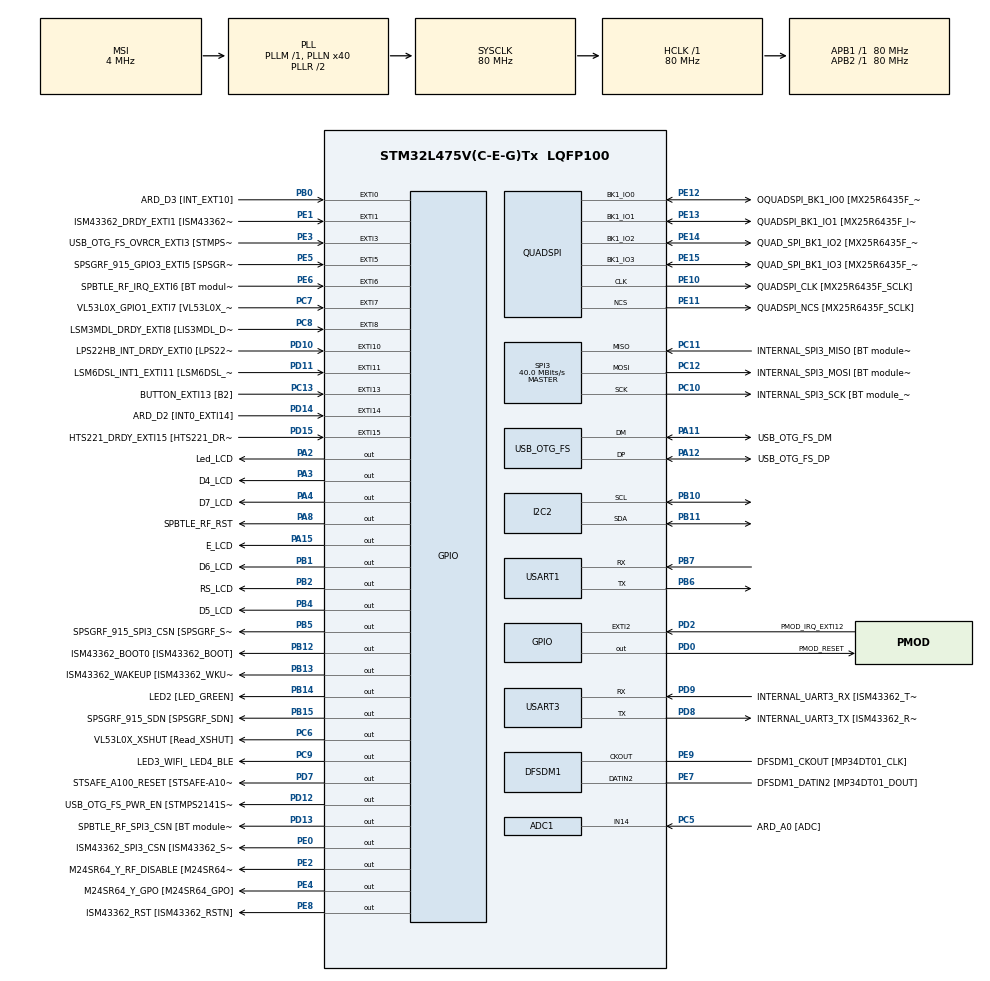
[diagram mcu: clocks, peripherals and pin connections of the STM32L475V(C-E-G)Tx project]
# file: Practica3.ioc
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ADC1.Channel-0\#ChannelRegularConversion=ADC_CHANNEL_14
ADC1.NbrOfConversionFlag=1
ADC1.OffsetNumber-0\#ChannelRegularConversion=ADC_OFFSET_NONE
ADC1.Rank-0\#ChannelRegularConversion=1
ADC1.SamplingTime-0\#ChannelRegularConversion=ADC_SAMPLETIME_2CYCLES_5
ADC1.master=1
I2C2.Timing=0x10909CEC
Mcu.Family=STM32L4
Mcu.Name=STM32L475V(C-E-G)Tx
Mcu.Package=LQFP100
NVIC.EXTI15_10_IRQn=true\:0\:0\:false\:false\:true\:true\:true\:true
NVIC.EXTI9_5_IRQn=true\:0\:0\:false\:false\:true\:true\:true\:true
NVIC.PriorityGroup=NVIC_PRIORITYGROUP_4
PA0.GPIO_Label=ARD_D1 [UART4_TX]
PA0.Signal=UART4_TX
PA1.GPIO_Label=ARD_D0 [UART4_RX]
PA1.Signal=UART4_RX
PA10.GPIO_Label=USB_OTG_FS_ID
PA10.Signal=USB_OTG_FS_ID
PA11.GPIO_Label=USB_OTG_FS_DM
PA11.Mode=Device_Only
PA11.Signal=USB_OTG_FS_DM
PA12.GPIO_Label=USB_OTG_FS_DP
PA12.Mode=Device_Only
PA12.Signal=USB_OTG_FS_DP
PA13\ (JTMS-SWDIO).GPIO_Label=SYS_JTMS_SWDIO
PA13\ (JTMS-SWDIO).Mode=Serial_Wire
PA13\ (JTMS-SWDIO).Signal=SYS_JTMS-SWDIO
PA14\ (JTCK-SWCLK).GPIO_Label=SYS_JTCK_SWCLK
PA14\ (JTCK-SWCLK).Mode=Serial_Wire
PA14\ (JTCK-SWCLK).Signal=SYS_JTCK-SWCLK
PA15\ (JTDI).GPIO_Label=E_LCD
PA15\ (JTDI).Signal=GPIO_Output
PA2.GPIO_Label=Led_LCD
PA2.Signal=GPIO_Output
PA3.GPIO_Label=D4_LCD
PA3.Signal=GPIO_Output
PA4.GPIO_Label=D7_LCD
PA4.Signal=GPIO_Output
PA5.GPIO_Label=ARD_D13 [SPI1_SCK]
PA5.Signal=SPI1_SCK
PA6.GPIO_Label=ARD_D12 [SPI1_MISO]
PA6.Signal=SPI1_MISO
PA7.GPIO_Label=ARD_D11 [SPI1_MOSI]
PA7.Signal=SPI1_MOSI
PA8.GPIO_Label=SPBTLE_RF_RST
PA8.Signal=GPIO_Output
PA9.GPIO_Label=USB_OTG_FS_VBUS [STMPS2141STR_OUT]
PA9.Signal=USB_OTG_FS_VBUS
PB0.GPIO_Label=ARD_D3 [INT_EXT10]
PB0.Signal=GPXTI0
PB1.GPIO_Label=D6_LCD
PB1.Signal=GPIO_Output
PB10.Mode=I2C
PB10.Signal=I2C2_SCL
PB11.Mode=I2C
PB11.Signal=I2C2_SDA
PB12.GPIO_Label=ISM43362_BOOT0 [ISM43362_BOOT]
PB12.Signal=GPIO_Output
PB13.GPIO_Label=ISM43362_WAKEUP [ISM43362_WKUP]
PB13.Signal=GPIO_Output
PB14.GPIO_Label=LED2 [LED_GREEN]
PB14.Signal=GPIO_Output
PB15.GPIO_Label=SPSGRF_915_SDN [SPSGRF_SDN]
PB15.Signal=GPIO_Output
PB2.GPIO_Label=RS_LCD
PB2.Signal=GPIO_Output
PB3\ (JTDO-TRACESWO).GPIO_Label=SYS_JTD0_SWO
PB3\ (JTDO-TRACESWO).Signal=SYS_JTDO-SWO
PB4\ (NJTRST).GPIO_Label=D5_LCD
PB4\ (NJTRST).Signal=GPIO_Output
PB5.GPIO_Label=SPSGRF_915_SPI3_CSN [SPSGRF_SPI_CS]
PB5.PinState=GPIO_PIN_SET
PB5.Signal=GPIO_Output
PB6.Mode=Asynchronous
PB6.Signal=USART1_TX
PB7.Mode=Asynchronous
PB7.Signal=USART1_RX
PB9.GPIO_Label=ARD_D14 [I2C1_SDA]
PB9.Signal=I2C1_SDA
PC0.GPIO_Label=ARD_A5 [ADC]
PC0.Signal=ADCx_IN1
PC1.GPIO_Label=ARD_A4 [ADC]
PC1.Signal=ADCx_IN2
PC10.GPIO_Label=INTERNAL_SPI3_SCK [BT module_SPI_SCLK] [ISM43362_SCK]
PC10.Mode=Full_Duplex_Master
PC10.Signal=SPI3_SCK
PC11.GPIO_Label=INTERNAL_SPI3_MISO [BT module_SPI_MISO] [ISM43362_MISO]
PC11.Mode=Full_Duplex_Master
PC11.Signal=SPI3_MISO
PC12.GPIO_Label=INTERNAL_SPI3_MOSI [BT module_SPI_MOSI] [ISM43362_MOSI]
PC12.Mode=Full_Duplex_Master
PC12.Signal=SPI3_MOSI
PC13.GPIO_Label=BUTTON_EXTI13 [B2]
PC13.GPIO_ModeDefaultEXTI=GPIO_MODE_IT_FALLING
PC13.Signal=GPXTI13
PC14-OSC32_IN\ (PC14).Mode=LSE-External-Oscillator
PC14-OSC32_IN\ (PC14).Signal=RCC_OSC32_IN
PC15-OSC32_OUT\ (PC15).Mode=LSE-External-Oscillator
PC15-OSC32_OUT\ (PC15).Signal=RCC_OSC32_OUT
PC2.GPIO_Label=ARD_A3 [ADC]
PC2.Signal=ADCx_IN3
PC3.GPIO_Label=ARD_A2 [ADC]
PC3.Signal=ADCx_IN4
PC5.GPIO_Label=ARD_A0 [ADC]
PC5.Signal=ADCx_IN14
PC6.GPIO_Label=VL53L0X_XSHUT [Read_XSHUT]
PC6.Signal=GPIO_Output
PC7.GPIO_Label=VL53L0X_GPIO1_EXTI7 [VL53L0X_GPIO1]
PC7.Signal=GPXTI7
PC8.GPIO_Label=LSM3MDL_DRDY_EXTI8 [LIS3MDL_DRDY]
PC8.Signal=GPXTI8
PC9.GPIO_Label=LED3_WIFI_ LED4_BLE
PC9.Signal=GPIO_Output
PD0.GPIO_Label=PMOD_RESET
PD0.Signal=GPIO_Output
PD1.GPIO_Label=PMOD_SPI2_SCK
PD1.Signal=SPI2_SCK
PD10.GPIO_Label=LPS22HB_INT_DRDY_EXTI0 [LPS22HB_INT_DRDY] 
PD10.Signal=GPXTI10
PD11.GPIO_Label=LSM6DSL_INT1_EXTI11 [LSM6DSL_INT1]
PD11.Signal=GPXTI11
PD12.GPIO_Label=USB_OTG_FS_PWR_EN [STMPS2141STR_EN]
PD12.Signal=GPIO_Output
PD13.GPIO_Label=SPBTLE_RF_SPI3_CSN [BT module_SPI_CS]
PD13.PinState=GPIO_PIN_SET
PD13.Signal=GPIO_Output
PD14.GPIO_Label=ARD_D2 [INT0_EXTI14]
PD14.Signal=GPXTI14
PD15.GPIO_Label=HTS221_DRDY_EXTI15 [HTS221_DRDY]
PD15.Signal=GPXTI15
PD2.GPIO_Label=PMOD_IRQ_EXTI12
PD2.Signal=GPXTI2
PD3.GPIO_Label=PMOD_UART2_CTS
PD3.Signal=USART2_CTS
PD4.GPIO_Label=PMOD_UART2_RTS
PD4.Signal=USART2_RTS
PD5.GPIO_Label=PMOD_UART2_TX
PD5.Signal=USART2_TX
PD6.GPIO_Label=PMOD_UART2_RX
PD6.Signal=USART2_RX
PD7.GPIO_Label=STSAFE_A100_RESET [STSAFE-A100_RESET]
PD7.Signal=GPIO_Output
PD8.GPIO_Label=INTERNAL_UART3_TX [ISM43362_RX]
PD8.Mode=Asynchronous
PD8.Signal=USART3_TX
PD9.GPIO_Label=INTERNAL_UART3_RX [ISM43362_TX]
PD9.Mode=Asynchronous
PD9.Signal=USART3_RX
PE0.GPIO_Label=ISM43362_SPI3_CSN [ISM43362_SSN]
PE0.PinState=GPIO_PIN_SET
PE0.Signal=GPIO_Output
PE1.GPIO_Label=ISM43362_DRDY_EXTI1 [ISM43362_DATARDY]
PE1.Signal=GPXTI1
PE10.GPIO_Label=QUADSPI_CLK [MX25R6435F_SCLK]
PE10.Mode=Single Bank
PE10.Signal=QUADSPI_CLK
PE11.GPIO_Label=QUADSPI_NCS [MX25R6435F_SCLK]
PE11.Mode=Single Bank
PE11.Signal=QUADSPI_NCS
PE12.GPIO_Label=OQUADSPI_BK1_IO0 [MX25R6435F_IO0]
PE12.Mode=Single Bank
PE12.Signal=QUADSPI_BK1_IO0
PE13.GPIO_Label=QUADSPI_BK1_IO1 [MX25R6435F_IO1]
PE13.Mode=Single Bank
PE13.Signal=QUADSPI_BK1_IO1
PE14.GPIO_Label=QUAD_SPI_BK1_IO2 [MX25R6435F_IO2]
PE14.Mode=Single Bank
PE14.Signal=QUADSPI_BK1_IO2
PE15.GPIO_Label=QUAD_SPI_BK1_IO3 [MX25R6435F_IO3]
PE15.Mode=Single Bank
PE15.Signal=QUADSPI_BK1_IO3
PE2.GPIO_Label=M24SR64_Y_RF_DISABLE [M24SR64_RFDIS]
PE2.Signal=GPIO_Output
PE3.GPIO_Label=USB_OTG_FS_OVRCR_EXTI3 [STMPS2141STR_FAULT]
PE3.Signal=GPXTI3
PE4.GPIO_Label=M24SR64_Y_GPO [M24SR64_GPO]
PE4.Signal=GPIO_Output
PE5.GPIO_Label=SPSGRF_915_GPIO3_EXTI5 [SPSGRF_GPIO_3]
PE5.Signal=GPXTI5
PE6.GPIO_Label=SPBTLE_RF_IRQ_EXTI6 [BT module_SPI_IRQ]
PE6.Signal=GPXTI6
PE7.GPIO_Label=DFSDM1_DATIN2 [MP34DT01_DOUT]
PE7.Signal=S_DATAIN2DFSDM1
PE8.GPIO_Label=ISM43362_RST [ISM43362_RSTN]
PE8.Signal=GPIO_Output
PE9.GPIO_Label=DFSDM1_CKOUT [MP34DT01_CLK]
PE9.Signal=S_CKOUTDFSDM1
ProjectManager.HeapSize=0x200
ProjectManager.StackSize=0x400
ProjectManager.TargetToolchain=STM32CubeIDE
QUADSPI.ClockPrescaler=2
QUADSPI.FifoThreshold=4
QUADSPI.FlashSize=23
QUADSPI.SampleShifting=QSPI_SAMPLE_SHIFTING_HALFCYCLE
RCC.ADCFreq_Value=48000000
RCC.AHBFreq_Value=80000000
RCC.APB1Freq_Value=80000000
RCC.APB1TimFreq_Value=80000000
RCC.APB2Freq_Value=80000000
RCC.APB2TimFreq_Value=80000000
RCC.CortexFreq_Value=80000000
RCC.HCLKFreq_Value=80000000
RCC.HSE_VALUE=8000000
RCC.HSI_VALUE=16000000
RCC.MSI_VALUE=4000000
RCC.PLLN=40
RCC.PLLSAI1N=24
RCC.SYSCLKFreq_VALUE=80000000
RCC.SYSCLKSource=RCC_SYSCLKSOURCE_PLLCLK
RCC.USBFreq_Value=48000000
RCC.VCOOutputFreq_Value=160000000
SH.ADCx_IN1.0=ADC1_IN1
SH.ADCx_IN14.0=ADC1_IN14,IN14-Single-Ended
SH.ADCx_IN2.0=ADC1_IN2
SH.ADCx_IN3.0=ADC1_IN3
SH.ADCx_IN4.0=ADC1_IN4
SH.S_CKOUTDFSDM1.0=DFSDM1_CKOUT,CKOUT
SH.S_CKOUTDFSDM1.1=DFSDM1_CKOUT,PDM_SPI_Input_from_ch12_and_Internal_Clock
SH.S_DATAIN2DFSDM1.0=DFSDM1_DATIN2,PDM_SPI_Input_from_ch12_and_Internal_Clock
SPI3.CalculateBaudRate=40.0 MBits/s
SPI3.Direction=SPI_DIRECTION_2LINES
SPI3.Mode=SPI_MODE_MASTER
SPI3.VirtualType=VM_MASTER
USART1.VirtualMode-Asynchronous=VM_ASYNC
USART3.VirtualMode-Asynchronous=VM_ASYNC
USB_OTG_FS.VirtualMode=Device_Only
board=B-L475E-IOT01A2

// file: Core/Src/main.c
/* USER CODE BEGIN Header */
/**
 ******************************************************************************
 * @file           : main.c
 * @brief          : Main program body
 ******************************************************************************
 * @attention
 *
 * Copyright (c) 2024 STMicroelectronics.
 * All rights reserved.
 *
 * This software is licensed under terms that can be found in the LICENSE file
 * in the root directory of this software component.
 * If no LICENSE file comes with this software, it is provided AS-IS.
 *
 ******************************************************************************
 */
/* USER CODE END Header */
#include "main.h"

/* USER CODE BEGIN Includes */
#include "hd44780.h"
#include "LPS22.h"
#include "HTS221.h"
#include "float.h"
#include "stdio.h"
/* USER CODE END Includes */

ADC_HandleTypeDef hadc1;

DFSDM_Channel_HandleTypeDef hdfsdm1_channel1;

I2C_HandleTypeDef hi2c2;

QSPI_HandleTypeDef hqspi;

SPI_HandleTypeDef hspi3;

UART_HandleTypeDef huart1;
UART_HandleTypeDef huart3;

PCD_HandleTypeDef hpcd_USB_OTG_FS;

/* USER CODE BEGIN PV */
#ifdef __GNUC__
/* With GCC/RAISONANCE, small printf (option LD Linker->Libraries->Small printf
set to 'Yes') calls __io_putchar() */
#define PUTCHAR_PROTOTYPE int __io_putchar(int ch)
#else
#define PUTCHAR_PROTOTYPE int fputc(int ch, FILE *f)
#endif /* __GNUC__ */
PUTCHAR_PROTOTYPE{
HAL_UART_Transmit(&huart1,(uint8_t *) &ch,1,2);
return ch;
}
/* USER CODE END PV */

void SystemClock_Config(void);
void PeriphCommonClock_Config(void);
static void MX_GPIO_Init(void);
static void MX_DFSDM1_Init(void);
static void MX_QUADSPI_Init(void);
static void MX_SPI3_Init(void);
static void MX_USART3_UART_Init(void);
static void MX_USB_OTG_FS_PCD_Init(void);
static void MX_ADC1_Init(void);
static void MX_I2C2_Init(void);
static void MX_USART1_UART_Init(void);

/* USER CODE BEGIN 0 */
void ini_lcd() {
	lcd_reset();
	lcd_display_settings(1, 0, 0);
	lcd_clear();
}
uint8_t getButton(uint16_t sample) {
	// uint8_t getButton(uint32_t sample)
	// uint8_t getButton(uint16_t sample)
	//da errores si las declaramos de esta forma
	uint8_t res = 0;
	if (sample == 4095) {
		res = 0;
	} else if (sample >= 700 && sample <= 720) {
		// boton up
		res = 2;
	} else if (sample >= 1618 && sample <= 1630) {
		//boton down
		res = 3;
	} else if (sample >= 2380 && sample <= 2400) {
		// boton left
		res = 4;
	} else if (sample >= 3350 && sample <= 3380) {
		// select 3366
		res = 5;
	} else if (sample >= 0 && sample <= 100) {
		//boton right 000
		res = 1;
	}
	return res;
}
void display_lcd(float press, float temp, float hum) {

	uint8_t str[20]; // porqúe 20
	//Formatear y escribir la presión

	sprintf(str, "Press: %.1fhPA", press);
	moveToXY(0, 0);
	lcd_print(str);
	//de la temp y demás

	sprintf(str, "T:%.1fc H:%.1f\%%", temp, hum);
	moveToXY(1, 0);

	lcd_print(str);
}
/* USER CODE END 0 */

int main(void)
{

  /* MCU Configuration--------------------------------------------------------*/

  /* Reset of all peripherals, Initializes the Flash interface and the Systick. */
  HAL_Init();

  /* Configure the system clock */
  SystemClock_Config();

/* Configure the peripherals common clocks */
  PeriphCommonClock_Config();

  /* Initialize all configured peripherals */
  MX_GPIO_Init();
  MX_DFSDM1_Init();
  MX_QUADSPI_Init();
  MX_SPI3_Init();
  MX_USART3_UART_Init();
  MX_USB_OTG_FS_PCD_Init();
  MX_ADC1_Init();
  MX_I2C2_Init();
  MX_USART1_UART_Init();
  /* USER CODE BEGIN 2 */

//lcd_print("Funciona!");
  /* USER CODE END 2 */

  /* Infinite loop */
  /* USER CODE BEGIN WHILE */
// Inicializamos los perifericos
// inicializamos el lcd
	ini_lcd();
//inicializamos el LPS22H
	LPS22_Init();
	//inicializamos el HTS221_InitSs
	HTS221_Init();
	// aquí almacenaremos los datos

	float pressAVG = 0;
	float tempAVG = 0;
	float humAVG = 0;
	// necesario incluir una biblioteca adicional
	float pressMax = FLT_MIN;
	float pressMin = FLT_MAX;
	float tempMax = FLT_MIN;
	float tempMin = FLT_MAX;
	float humMax = FLT_MIN;
	float humMin = FLT_MAX;
	float press;
	float temp;
	float hum;

// para la temporizacíon
	int iBucle = 0;// almacena las iteraciones del bucle
//determina el modulo
//	a los 100 iteraciones se reinicia el bucle
	// si no lo hemos reinicado antes
	// para evitar overflows
	const int resetBucle= 100;

	while (1) { // usamos temporización
		//TAREA A lectura de sensores
		if (iBucle == 0) {
//			ponemos todo a 0 y leemos
			//así evitamos overflows
			// para evitar tener que leerlo 2 veces
			THSample ths = HTS221_Read();
			temp = 0;
			hum = 0;
			press = 0;
			pressAVG = 0;
			tempAVG = 0;
			humAVG = 0;
			pressMax = FLT_MIN;
			pressMin = FLT_MAX;
			 tempMax = FLT_MIN;
			tempMin = FLT_MAX;
			 humMax = FLT_MIN;
			 humMin = FLT_MAX;
		}
		if ( iBucle %5 == 0) {
			// cada 5 iteraciones del bucle
			//tomamos medidas
			THSample ths = HTS221_Read();
			temp = ths.temp;
			hum = ths.hum;
			press = LPS22_ReadPress();
			// actualizamos las variable

			tempAVG = (tempAVG*iBucle +temp) /(iBucle+1);
			humAVG = (humAVG*iBucle +temp) /(iBucle+1);
			pressAVG = (pressAVG*iBucle +temp) /(iBucle+1);
			pressMax = press >pressMax?press: pressMax;
			tempMax = temp >tempMax?temp: tempMax;
			humMax =  hum> humMax?hum:humMax;
			pressMin = press <pressMin?press: pressMin;
			tempMin = temp <tempMin?temp: tempMin;
			humMin =  hum< humMin?hum:humMin;

		}
		iBucle++;
		iBucle = iBucle % resetBucle;
		uint8_t boton=0;
//		// tarea B  leer en el botoón y mostrar en el display
		HAL_ADC_Start(&hadc1);
//		// 2- Esperar a que esté disponible
//		HAL_ADC_PollForConversion(&hadc1, 100);
//		uint16_t sample = HAL_ADC_GetValue(&hadc1);
//		// obtenenmos el valor del boton
//		boton = getButton(sample);
//		// vector para almacenar la cadena
//		uint8_t str[20]; // porque 20

		switch (boton) {
		case 2: // Up
			// valores maximos registrados
			display_lcd(pressMax, tempMax, humMax);
			break;
		case 3: //down
			//valores minimos
			display_lcd(pressMin, tempMin, humMin);
			break;
	case 4: // left
		// medios
		display_lcd(pressAVG, tempAVG, humAVG);

				break;
	case 1: // right
		//reset de todos
			iBucle = 0;
			// se resetea todo en el siguiente ciclo
			display_lcd(0, 0, 0);
				break;
		default:		// select  y ninguno
			display_lcd(press, temp, hum);
			break;
		}

// Tarea C retraso temporal
		HAL_Delay(100);
		//HAL_UART_Transmit(&huart1, "hola\n\r",6, 1000);
		printf("Pres:%.1hfPA T:%1fC H:%.1f%% B: %d\r\n",press,temp,hum,boton);
    /* USER CODE END WHILE */

	}
}

void SystemClock_Config(void)
{
  RCC_OscInitTypeDef RCC_OscInitStruct = {0};
  RCC_ClkInitTypeDef RCC_ClkInitStruct = {0};

  /** Configure the main internal regulator output voltage
  */
  if (HAL_PWREx_ControlVoltageScaling(PWR_REGULATOR_VOLTAGE_SCALE1) != HAL_OK)
  {
    Error_Handler();
  }

  /** Configure LSE Drive Capability
  */
  HAL_PWR_EnableBkUpAccess();
  __HAL_RCC_LSEDRIVE_CONFIG(RCC_LSEDRIVE_LOW);

  /** Initializes the RCC Oscillators according to the specified parameters
  * in the RCC_OscInitTypeDef structure.
  */
  RCC_OscInitStruct.OscillatorType = RCC_OSCILLATORTYPE_LSE|RCC_OSCILLATORTYPE_MSI;
  RCC_OscInitStruct.LSEState = RCC_LSE_ON;
  RCC_OscInitStruct.MSIState = RCC_MSI_ON;
  RCC_OscInitStruct.MSICalibrationValue = 0;
  RCC_OscInitStruct.MSIClockRange = RCC_MSIRANGE_6;
  RCC_OscInitStruct.PLL.PLLState = RCC_PLL_ON;
  RCC_OscInitStruct.PLL.PLLSource = RCC_PLLSOURCE_MSI;
  RCC_OscInitStruct.PLL.PLLM = 1;
  RCC_OscInitStruct.PLL.PLLN = 40;
  RCC_OscInitStruct.PLL.PLLP = RCC_PLLP_DIV7;
  RCC_OscInitStruct.PLL.PLLQ = RCC_PLLQ_DIV2;
  RCC_OscInitStruct.PLL.PLLR = RCC_PLLR_DIV2;
  if (HAL_RCC_OscConfig(&RCC_OscInitStruct) != HAL_OK)
  {
    Error_Handler();
  }

  /** Initializes the CPU, AHB and APB buses clocks
  */
  RCC_ClkInitStruct.ClockType = RCC_CLOCKTYPE_HCLK|RCC_CLOCKTYPE_SYSCLK
                              |RCC_CLOCKTYPE_PCLK1|RCC_CLOCKTYPE_PCLK2;
  RCC_ClkInitStruct.SYSCLKSource = RCC_SYSCLKSOURCE_PLLCLK;
  RCC_ClkInitStruct.AHBCLKDivider = RCC_SYSCLK_DIV1;
  RCC_ClkInitStruct.APB1CLKDivider = RCC_HCLK_DIV1;
  RCC_ClkInitStruct.APB2CLKDivider = RCC_HCLK_DIV1;

  if (HAL_RCC_ClockConfig(&RCC_ClkInitStruct, FLASH_LATENCY_4) != HAL_OK)
  {
    Error_Handler();
  }

  /** Enable MSI Auto calibration
  */
  HAL_RCCEx_EnableMSIPLLMode();
}

void PeriphCommonClock_Config(void)
{
  RCC_PeriphCLKInitTypeDef PeriphClkInit = {0};

  /** Initializes the peripherals clock
  */
  PeriphClkInit.PeriphClockSelection = RCC_PERIPHCLK_USB|RCC_PERIPHCLK_ADC;
  PeriphClkInit.AdcClockSelection = RCC_ADCCLKSOURCE_PLLSAI1;
  PeriphClkInit.UsbClockSelection = RCC_USBCLKSOURCE_PLLSAI1;
  PeriphClkInit.PLLSAI1.PLLSAI1Source = RCC_PLLSOURCE_MSI;
  PeriphClkInit.PLLSAI1.PLLSAI1M = 1;
  PeriphClkInit.PLLSAI1.PLLSAI1N = 24;
  PeriphClkInit.PLLSAI1.PLLSAI1P = RCC_PLLP_DIV7;
  PeriphClkInit.PLLSAI1.PLLSAI1Q = RCC_PLLQ_DIV2;
  PeriphClkInit.PLLSAI1.PLLSAI1R = RCC_PLLR_DIV2;
  PeriphClkInit.PLLSAI1.PLLSAI1ClockOut = RCC_PLLSAI1_48M2CLK|RCC_PLLSAI1_ADC1CLK;
  if (HAL_RCCEx_PeriphCLKConfig(&PeriphClkInit) != HAL_OK)
  {
    Error_Handler();
  }
}

static void MX_ADC1_Init(void)
{

  ADC_MultiModeTypeDef multimode = {0};
  ADC_ChannelConfTypeDef sConfig = {0};

  /** Common config
  */
  hadc1.Instance = ADC1;
  hadc1.Init.ClockPrescaler = ADC_CLOCK_ASYNC_DIV1;
  hadc1.Init.Resolution = ADC_RESOLUTION_12B;
  hadc1.Init.DataAlign = ADC_DATAALIGN_RIGHT;
  hadc1.Init.ScanConvMode = ADC_SCAN_DISABLE;
  hadc1.Init.EOCSelection = ADC_EOC_SINGLE_CONV;
  hadc1.Init.LowPowerAutoWait = DISABLE;
  hadc1.Init.ContinuousConvMode = DISABLE;
  hadc1.Init.NbrOfConversion = 1;
  hadc1.Init.DiscontinuousConvMode = DISABLE;
  hadc1.Init.ExternalTrigConv = ADC_SOFTWARE_START;
  hadc1.Init.ExternalTrigConvEdge = ADC_EXTERNALTRIGCONVEDGE_NONE;
  hadc1.Init.DMAContinuousRequests = DISABLE;
  hadc1.Init.Overrun = ADC_OVR_DATA_PRESERVED;
  hadc1.Init.OversamplingMode = DISABLE;
  if (HAL_ADC_Init(&hadc1) != HAL_OK)
  {
    Error_Handler();
  }

  /** Configure the ADC multi-mode
  */
  multimode.Mode = ADC_MODE_INDEPENDENT;
  if (HAL_ADCEx_MultiModeConfigChannel(&hadc1, &multimode) != HAL_OK)
  {
    Error_Handler();
  }

  /** Configure Regular Channel
  */
  sConfig.Channel = ADC_CHANNEL_14;
  sConfig.Rank = ADC_REGULAR_RANK_1;
  sConfig.SamplingTime = ADC_SAMPLETIME_2CYCLES_5;
  sConfig.SingleDiff = ADC_SINGLE_ENDED;
  sConfig.OffsetNumber = ADC_OFFSET_NONE;
  sConfig.Offset = 0;
  if (HAL_ADC_ConfigChannel(&hadc1, &sConfig) != HAL_OK)
  {
    Error_Handler();
  }

}

static void MX_DFSDM1_Init(void)
{

  hdfsdm1_channel1.Instance = DFSDM1_Channel1;
  hdfsdm1_channel1.Init.OutputClock.Activation = ENABLE;
  hdfsdm1_channel1.Init.OutputClock.Selection = DFSDM_CHANNEL_OUTPUT_CLOCK_SYSTEM;
  hdfsdm1_channel1.Init.OutputClock.Divider = 2;
  hdfsdm1_channel1.Init.Input.Multiplexer = DFSDM_CHANNEL_EXTERNAL_INPUTS;
  hdfsdm1_channel1.Init.Input.DataPacking = DFSDM_CHANNEL_STANDARD_MODE;
  hdfsdm1_channel1.Init.Input.Pins = DFSDM_CHANNEL_FOLLOWING_CHANNEL_PINS;
  hdfsdm1_channel1.Init.SerialInterface.Type = DFSDM_CHANNEL_SPI_RISING;
  hdfsdm1_channel1.Init.SerialInterface.SpiClock = DFSDM_CHANNEL_SPI_CLOCK_INTERNAL;
  hdfsdm1_channel1.Init.Awd.FilterOrder = DFSDM_CHANNEL_FASTSINC_ORDER;
  hdfsdm1_channel1.Init.Awd.Oversampling = 1;
  hdfsdm1_channel1.Init.Offset = 0;
  hdfsdm1_channel1.Init.RightBitShift = 0x00;
  if (HAL_DFSDM_ChannelInit(&hdfsdm1_channel1) != HAL_OK)
  {
    Error_Handler();
  }

}

static void MX_I2C2_Init(void)
{

  hi2c2.Instance = I2C2;
  hi2c2.Init.Timing = 0x10909CEC;
  hi2c2.Init.OwnAddress1 = 0;
  hi2c2.Init.AddressingMode = I2C_ADDRESSINGMODE_7BIT;
  hi2c2.Init.DualAddressMode = I2C_DUALADDRESS_DISABLE;
  hi2c2.Init.OwnAddress2 = 0;
  hi2c2.Init.OwnAddress2Masks = I2C_OA2_NOMASK;
  hi2c2.Init.GeneralCallMode = I2C_GENERALCALL_DISABLE;
  hi2c2.Init.NoStretchMode = I2C_NOSTRETCH_DISABLE;
  if (HAL_I2C_Init(&hi2c2) != HAL_OK)
  {
    Error_Handler();
  }

  /** Configure Analogue filter
  */
  if (HAL_I2CEx_ConfigAnalogFilter(&hi2c2, I2C_ANALOGFILTER_ENABLE) != HAL_OK)
  {
    Error_Handler();
  }

  /** Configure Digital filter
  */
  if (HAL_I2CEx_ConfigDigitalFilter(&hi2c2, 0) != HAL_OK)
  {
    Error_Handler();
  }

}

static void MX_QUADSPI_Init(void)
{

  /* QUADSPI parameter configuration*/
  hqspi.Instance = QUADSPI;
  hqspi.Init.ClockPrescaler = 2;
  hqspi.Init.FifoThreshold = 4;
  hqspi.Init.SampleShifting = QSPI_SAMPLE_SHIFTING_HALFCYCLE;
  hqspi.Init.FlashSize = 23;
  hqspi.Init.ChipSelectHighTime = QSPI_CS_HIGH_TIME_1_CYCLE;
  hqspi.Init.ClockMode = QSPI_CLOCK_MODE_0;
  if (HAL_QSPI_Init(&hqspi) != HAL_OK)
  {
    Error_Handler();
  }

}

static void MX_SPI3_Init(void)
{

  /* SPI3 parameter configuration*/
  hspi3.Instance = SPI3;
  hspi3.Init.Mode = SPI_MODE_MASTER;
  hspi3.Init.Direction = SPI_DIRECTION_2LINES;
  hspi3.Init.DataSize = SPI_DATASIZE_4BIT;
  hspi3.Init.CLKPolarity = SPI_POLARITY_LOW;
  hspi3.Init.CLKPhase = SPI_PHASE_1EDGE;
  hspi3.Init.NSS = SPI_NSS_SOFT;
  hspi3.Init.BaudRatePrescaler = SPI_BAUDRATEPRESCALER_2;
  hspi3.Init.FirstBit = SPI_FIRSTBIT_MSB;
  hspi3.Init.TIMode = SPI_TIMODE_DISABLE;
  hspi3.Init.CRCCalculation = SPI_CRCCALCULATION_DISABLE;
  hspi3.Init.CRCPolynomial = 7;
  hspi3.Init.CRCLength = SPI_CRC_LENGTH_DATASIZE;
  hspi3.Init.NSSPMode = SPI_NSS_PULSE_ENABLE;
  if (HAL_SPI_Init(&hspi3) != HAL_OK)
  {
    Error_Handler();
  }

}

static void MX_USART1_UART_Init(void)
{

  huart1.Instance = USART1;
  huart1.Init.BaudRate = 115200;
  huart1.Init.WordLength = UART_WORDLENGTH_8B;
  huart1.Init.StopBits = UART_STOPBITS_1;
  huart1.Init.Parity = UART_PARITY_NONE;
  huart1.Init.Mode = UART_MODE_TX_RX;
  huart1.Init.HwFlowCtl = UART_HWCONTROL_NONE;
  huart1.Init.OverSampling = UART_OVERSAMPLING_16;
  huart1.Init.OneBitSampling = UART_ONE_BIT_SAMPLE_DISABLE;
  huart1.AdvancedInit.AdvFeatureInit = UART_ADVFEATURE_NO_INIT;
  if (HAL_UART_Init(&huart1) != HAL_OK)
  {
    Error_Handler();
  }

}

static void MX_USART3_UART_Init(void)
{

  huart3.Instance = USART3;
  huart3.Init.BaudRate = 115200;
  huart3.Init.WordLength = UART_WORDLENGTH_8B;
  huart3.Init.StopBits = UART_STOPBITS_1;
  huart3.Init.Parity = UART_PARITY_NONE;
  huart3.Init.Mode = UART_MODE_TX_RX;
  huart3.Init.HwFlowCtl = UART_HWCONTROL_NONE;
  huart3.Init.OverSampling = UART_OVERSAMPLING_16;
  huart3.Init.OneBitSampling = UART_ONE_BIT_SAMPLE_DISABLE;
  huart3.AdvancedInit.AdvFeatureInit = UART_ADVFEATURE_NO_INIT;
  if (HAL_UART_Init(&huart3) != HAL_OK)
  {
    Error_Handler();
  }

}

static void MX_USB_OTG_FS_PCD_Init(void)
{

  hpcd_USB_OTG_FS.Instance = USB_OTG_FS;
  hpcd_USB_OTG_FS.Init.dev_endpoints = 6;
  hpcd_USB_OTG_FS.Init.speed = PCD_SPEED_FULL;
  hpcd_USB_OTG_FS.Init.phy_itface = PCD_PHY_EMBEDDED;
  hpcd_USB_OTG_FS.Init.Sof_enable = DISABLE;
  hpcd_USB_OTG_FS.Init.low_power_enable = DISABLE;
  hpcd_USB_OTG_FS.Init.lpm_enable = DISABLE;
  hpcd_USB_OTG_FS.Init.battery_charging_enable = DISABLE;
  hpcd_USB_OTG_FS.Init.use_dedicated_ep1 = DISABLE;
  hpcd_USB_OTG_FS.Init.vbus_sensing_enable = DISABLE;
  if (HAL_PCD_Init(&hpcd_USB_OTG_FS) != HAL_OK)
  {
    Error_Handler();
  }

}

static void MX_GPIO_Init(void)
{
  GPIO_InitTypeDef GPIO_InitStruct = {0};

  /* GPIO Ports Clock Enable */
  __HAL_RCC_GPIOE_CLK_ENABLE();
  __HAL_RCC_GPIOC_CLK_ENABLE();
  __HAL_RCC_GPIOA_CLK_ENABLE();
  __HAL_RCC_GPIOB_CLK_ENABLE();
  __HAL_RCC_GPIOD_CLK_ENABLE();

  /*Configure GPIO pin Output Level */
  HAL_GPIO_WritePin(GPIOE, M24SR64_Y_RF_DISABLE_Pin|M24SR64_Y_GPO_Pin|ISM43362_RST_Pin, GPIO_PIN_RESET);

  /*Configure GPIO pin Output Level */
  HAL_GPIO_WritePin(GPIOA, Led_LCD_Pin|D4_LCD_Pin|D7_LCD_Pin|SPBTLE_RF_RST_Pin
                          |E_LCD_Pin, GPIO_PIN_RESET);

  /*Configure GPIO pin Output Level */
  HAL_GPIO_WritePin(GPIOB, D6_LCD_Pin|RS_LCD_Pin|ISM43362_BOOT0_Pin|ISM43362_WAKEUP_Pin
                          |LED2_Pin|SPSGRF_915_SDN_Pin|D5_LCD_Pin, GPIO_PIN_RESET);

  /*Configure GPIO pin Output Level */
  HAL_GPIO_WritePin(GPIOD, USB_OTG_FS_PWR_EN_Pin|PMOD_RESET_Pin|STSAFE_A100_RESET_Pin, GPIO_PIN_RESET);

  /*Configure GPIO pin Output Level */
  HAL_GPIO_WritePin(SPBTLE_RF_SPI3_CSN_GPIO_Port, SPBTLE_RF_SPI3_CSN_Pin, GPIO_PIN_SET);

  /*Configure GPIO pin Output Level */
  HAL_GPIO_WritePin(GPIOC, VL53L0X_XSHUT_Pin|LED3_WIFI__LED4_BLE_Pin, GPIO_PIN_RESET);

  /*Configure GPIO pin Output Level */
  HAL_GPIO_WritePin(SPSGRF_915_SPI3_CSN_GPIO_Port, SPSGRF_915_SPI3_CSN_Pin, GPIO_PIN_SET);

  /*Configure GPIO pin Output Level */
  HAL_GPIO_WritePin(ISM43362_SPI3_CSN_GPIO_Port, ISM43362_SPI3_CSN_Pin, GPIO_PIN_SET);

  /*Configure GPIO pins : M24SR64_Y_RF_DISABLE_Pin M24SR64_Y_GPO_Pin ISM43362_RST_Pin ISM43362_SPI3_CSN_Pin */
  GPIO_InitStruct.Pin = M24SR64_Y_RF_DISABLE_Pin|M24SR64_Y_GPO_Pin|ISM43362_RST_Pin|ISM43362_SPI3_CSN_Pin;
  GPIO_InitStruct.Mode = GPIO_MODE_OUTPUT_PP;
  GPIO_InitStruct.Pull = GPIO_NOPULL;
  GPIO_InitStruct.Speed = GPIO_SPEED_FREQ_LOW;
  HAL_GPIO_Init(GPIOE, &GPIO_InitStruct);

  /*Configure GPIO pins : USB_OTG_FS_OVRCR_EXTI3_Pin SPSGRF_915_GPIO3_EXTI5_Pin SPBTLE_RF_IRQ_EXTI6_Pin ISM43362_DRDY_EXTI1_Pin */
  GPIO_InitStruct.Pin = USB_OTG_FS_OVRCR_EXTI3_Pin|SPSGRF_915_GPIO3_EXTI5_Pin|SPBTLE_RF_IRQ_EXTI6_Pin|ISM43362_DRDY_EXTI1_Pin;
  GPIO_InitStruct.Mode = GPIO_MODE_IT_RISING;
  GPIO_InitStruct.Pull = GPIO_NOPULL;
  HAL_GPIO_Init(GPIOE, &GPIO_InitStruct);

  /*Configure GPIO pin : BUTTON_EXTI13_Pin */
  GPIO_InitStruct.Pin = BUTTON_EXTI13_Pin;
  GPIO_InitStruct.Mode = GPIO_MODE_IT_FALLING;
  GPIO_InitStruct.Pull = GPIO_NOPULL;
  HAL_GPIO_Init(BUTTON_EXTI13_GPIO_Port, &GPIO_InitStruct);

  /*Configure GPIO pins : ARD_D1_Pin ARD_D0_Pin */
  GPIO_InitStruct.Pin = ARD_D1_Pin|ARD_D0_Pin;
  GPIO_InitStruct.Mode = GPIO_MODE_AF_PP;
  GPIO_InitStruct.Pull = GPIO_NOPULL;
  GPIO_InitStruct.Speed = GPIO_SPEED_FREQ_VERY_HIGH;
  GPIO_InitStruct.Alternate = GPIO_AF8_UART4;
  HAL_GPIO_Init(GPIOA, &GPIO_InitStruct);

  /*Configure GPIO pins : Led_LCD_Pin D4_LCD_Pin D7_LCD_Pin SPBTLE_RF_RST_Pin
                           E_LCD_Pin */
  GPIO_InitStruct.Pin = Led_LCD_Pin|D4_LCD_Pin|D7_LCD_Pin|SPBTLE_RF_RST_Pin
                          |E_LCD_Pin;
  GPIO_InitStruct.Mode = GPIO_MODE_OUTPUT_PP;
  GPIO_InitStruct.Pull = GPIO_NOPULL;
  GPIO_InitStruct.Speed = GPIO_SPEED_FREQ_LOW;
  HAL_GPIO_Init(GPIOA, &GPIO_InitStruct);

  /*Configure GPIO pins : ARD_D13_Pin ARD_D12_Pin ARD_D11_Pin */
  GPIO_InitStruct.Pin = ARD_D13_Pin|ARD_D12_Pin|ARD_D11_Pin;
  GPIO_InitStruct.Mode = GPIO_MODE_AF_PP;
  GPIO_InitStruct.Pull = GPIO_NOPULL;
  GPIO_InitStruct.Speed = GPIO_SPEED_FREQ_VERY_HIGH;
  GPIO_InitStruct.Alternate = GPIO_AF5_SPI1;
  HAL_GPIO_Init(GPIOA, &GPIO_InitStruct);

  /*Configure GPIO pin : ARD_D3_Pin */
  GPIO_InitStruct.Pin = ARD_D3_Pin;
  GPIO_InitStruct.Mode = GPIO_MODE_IT_RISING;
  GPIO_InitStruct.Pull = GPIO_NOPULL;
  HAL_GPIO_Init(ARD_D3_GPIO_Port, &GPIO_InitStruct);

  /*Configure GPIO pins : D6_LCD_Pin RS_LCD_Pin ISM43362_BOOT0_Pin ISM43362_WAKEUP_Pin
                           LED2_Pin SPSGRF_915_SDN_Pin D5_LCD_Pin SPSGRF_915_SPI3_CSN_Pin */
  GPIO_InitStruct.Pin = D6_LCD_Pin|RS_LCD_Pin|ISM43362_BOOT0_Pin|ISM43362_WAKEUP_Pin
                          |LED2_Pin|SPSGRF_915_SDN_Pin|D5_LCD_Pin|SPSGRF_915_SPI3_CSN_Pin;
  GPIO_InitStruct.Mode = GPIO_MODE_OUTPUT_PP;
  GPIO_InitStruct.Pull = GPIO_NOPULL;
  GPIO_InitStruct.Speed = GPIO_SPEED_FREQ_LOW;
  HAL_GPIO_Init(GPIOB, &GPIO_InitStruct);

  /*Configure GPIO pins : LPS22HB_INT_DRDY_EXTI0_Pin LSM6DSL_INT1_EXTI11_Pin ARD_D2_Pin HTS221_DRDY_EXTI15_Pin
                           PMOD_IRQ_EXTI12_Pin */
  GPIO_InitStruct.Pin = LPS22HB_INT_DRDY_EXTI0_Pin|LSM6DSL_INT1_EXTI11_Pin|ARD_D2_Pin|HTS221_DRDY_EXTI15_Pin
                          |PMOD_IRQ_EXTI12_Pin;
  GPIO_InitStruct.Mode = GPIO_MODE_IT_RISING;
  GPIO_InitStruct.Pull = GPIO_NOPULL;
  HAL_GPIO_Init(GPIOD, &GPIO_InitStruct);

  /*Configure GPIO pins : USB_OTG_FS_PWR_EN_Pin SPBTLE_RF_SPI3_CSN_Pin PMOD_RESET_Pin STSAFE_A100_RESET_Pin */
  GPIO_InitStruct.Pin = USB_OTG_FS_PWR_EN_Pin|SPBTLE_RF_SPI3_CSN_Pin|PMOD_RESET_Pin|STSAFE_A100_RESET_Pin;
  GPIO_InitStruct.Mode = GPIO_MODE_OUTPUT_PP;
  GPIO_InitStruct.Pull = GPIO_NOPULL;
  GPIO_InitStruct.Speed = GPIO_SPEED_FREQ_LOW;
  HAL_GPIO_Init(GPIOD, &GPIO_InitStruct);

  /*Configure GPIO pins : VL53L0X_XSHUT_Pin LED3_WIFI__LED4_BLE_Pin */
  GPIO_InitStruct.Pin = VL53L0X_XSHUT_Pin|LED3_WIFI__LED4_BLE_Pin;
  GPIO_InitStruct.Mode = GPIO_MODE_OUTPUT_PP;
  GPIO_InitStruct.Pull = GPIO_NOPULL;
  GPIO_InitStruct.Speed = GPIO_SPEED_FREQ_LOW;
  HAL_GPIO_Init(GPIOC, &GPIO_InitStruct);

  /*Configure GPIO pins : VL53L0X_GPIO1_EXTI7_Pin LSM3MDL_DRDY_EXTI8_Pin */
  GPIO_InitStruct.Pin = VL53L0X_GPIO1_EXTI7_Pin|LSM3MDL_DRDY_EXTI8_Pin;
  GPIO_InitStruct.Mode = GPIO_MODE_IT_RISING;
  GPIO_InitStruct.Pull = GPIO_NOPULL;
  HAL_GPIO_Init(GPIOC, &GPIO_InitStruct);

  /*Configure GPIO pin : PMOD_SPI2_SCK_Pin */
  GPIO_InitStruct.Pin = PMOD_SPI2_SCK_Pin;
  GPIO_InitStruct.Mode = GPIO_MODE_AF_PP;
  GPIO_InitStruct.Pull = GPIO_NOPULL;
  GPIO_InitStruct.Speed = GPIO_SPEED_FREQ_VERY_HIGH;
  GPIO_InitStruct.Alternate = GPIO_AF5_SPI2;
  HAL_GPIO_Init(PMOD_SPI2_SCK_GPIO_Port, &GPIO_InitStruct);

  /*Configure GPIO pins : PMOD_UART2_CTS_Pin PMOD_UART2_RTS_Pin PMOD_UART2_TX_Pin PMOD_UART2_RX_Pin */
  GPIO_InitStruct.Pin = PMOD_UART2_CTS_Pin|PMOD_UART2_RTS_Pin|PMOD_UART2_TX_Pin|PMOD_UART2_RX_Pin;
  GPIO_InitStruct.Mode = GPIO_MODE_AF_PP;
  GPIO_InitStruct.Pull = GPIO_NOPULL;
  GPIO_InitStruct.Speed = GPIO_SPEED_FREQ_VERY_HIGH;
  GPIO_InitStruct.Alternate = GPIO_AF7_USART2;
  HAL_GPIO_Init(GPIOD, &GPIO_InitStruct);

  /*Configure GPIO pin : ARD_D14_Pin */
  GPIO_InitStruct.Pin = ARD_D14_Pin;
  GPIO_InitStruct.Mode = GPIO_MODE_AF_OD;
  GPIO_InitStruct.Pull = GPIO_NOPULL;
  GPIO_InitStruct.Speed = GPIO_SPEED_FREQ_VERY_HIGH;
  GPIO_InitStruct.Alternate = GPIO_AF4_I2C1;
  HAL_GPIO_Init(ARD_D14_GPIO_Port, &GPIO_InitStruct);

  /* EXTI interrupt init*/
  HAL_NVIC_SetPriority(EXTI9_5_IRQn, 0, 0);
  HAL_NVIC_EnableIRQ(EXTI9_5_IRQn);

  HAL_NVIC_SetPriority(EXTI15_10_IRQn, 0, 0);
  HAL_NVIC_EnableIRQ(EXTI15_10_IRQn);

}

/* USER CODE BEGIN 4 */

//void ej1() {
//
//	// 1- Lanzar muestra del adc.
//	HAL_ADC_Start(&hadc1);
//	// 2- Esperar a que esté disponible
//	HAL_ADC_PollForConversion(&hadc1, 100);
//	// 3- Leer muestra del registro de datos
//	uint32_t sample = HAL_ADC_GetValue(&hadc1);
//	// 4-PResentar valores
//	moveToXY(0, 0);
//	lcd_print("Sp");
//	writeIntegerToLCD(sample);
//	moveToXY(1, 0);
//	lcd_print("V");
//	writeIntegerToLCD(voltajeConversor(sample));
//	moveToXY(0, 7);
//	lcd_print("Id");
//	writeIntegerToLCD(getButton(sample));
//	// 4.1 MOstrar valor de la muestra
//	// 4.3 Establecer que boton se ha pulsado y mostrar
//	// espera o delay entrea interrupciones
//	// El delay mejor manejarlo en el bucle principal
//	// HAL_Delay(200); // mejor 200 para evitar fluctuaciones por rebotes
//}
//int voltajeConversor(uint32_t sample){
//return (sample*3300)/4095;
//}
void presion_en_display() {

}
void humTemp_display() {

}
/* USER CODE END 4 */

void Error_Handler(void)
{
	__disable_irq();
	while (1) {
	}
}
